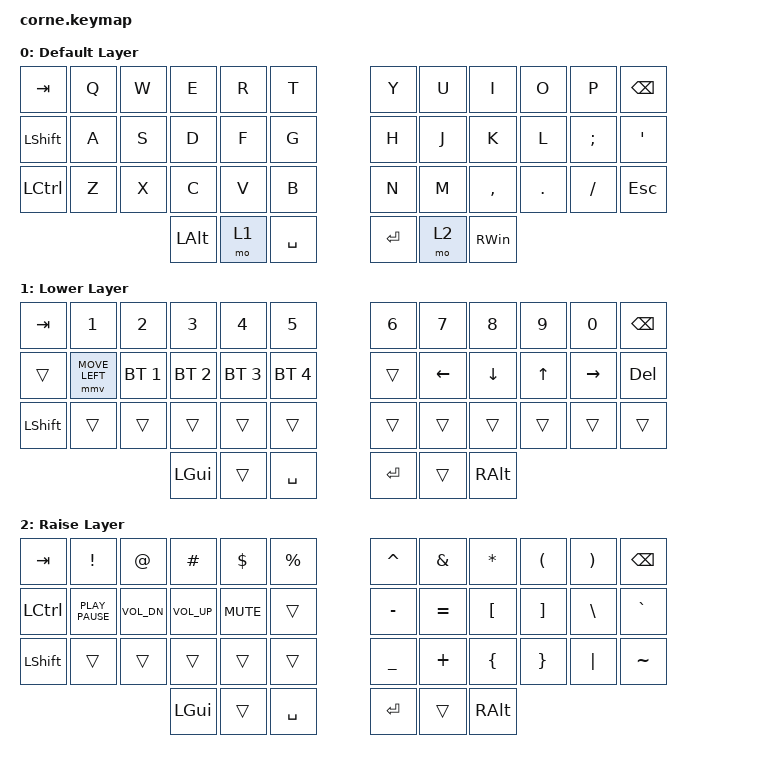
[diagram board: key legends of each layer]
/*
 * Copyright (c) 2020 The ZMK Contributors
 *
 * SPDX-License-Identifier: MIT
 */

#include <behaviors.dtsi>
#include <dt-bindings/zmk/bt.h>
#include <dt-bindings/zmk/keys.h>
#include <dt-bindings/zmk/pointing.h>

/ {
    keymap {
        compatible = "zmk,keymap";

        default_layer {
            display-name = "Default Layer";

            // -----------------------------------------------------------------------------------------
            // |  TAB |  Q  |  W  |  E  |  R  |  T  |   |  Y  |  U   |  I  |  O  |  P  | BSPC |
            // | CTRL |  A  |  S  |  D  |  F  |  G  |   |  H  |  J   |  K  |  L  |  ;  |  '   |
            // | SHFT |  Z  |  X  |  C  |  V  |  B  |   |  N  |  M   |  ,  |  .  |  /  | ESC  |
            //                    | GUI | LWR | SPC |   | ENT | RSE  | ALT |

            bindings = <
&kp TAB         &kp Q  &kp W  &kp E         &kp R  &kp T        &kp Y    &kp U  &kp I          &kp O    &kp P     &kp BSPC
&kp LEFT_SHIFT  &kp A  &kp S  &kp D         &kp F  &kp G        &kp H    &kp J  &kp K          &kp L    &kp SEMI  &kp SQT
&kp LCTRL       &kp Z  &kp X  &kp C         &kp V  &kp B        &kp N    &kp M  &kp COMMA      &kp DOT  &kp FSLH  &kp ESC
                              &kp LEFT_ALT  &mo 1  &kp SPACE    &kp RET  &mo 2  &kp RIGHT_WIN
            >;
        };

        lower_layer {
            display-name = "Lower Layer";

            // -----------------------------------------------------------------------------------------
            // |  TAB |  1  |  2  |  3  |  4  |  5  |   |  6  |  7  |  8  |  9  |  0  | BSPC |
            // | BTCLR| BT1 | BT2 | BT3 | BT4 | BT5 |   | LFT | DWN |  UP | RGT |     |      |
            // | SHFT |     |     |     |     |     |   |     |     |     |     |     |      |
            //                    | GUI |     | SPC |   | ENT |     | ALT |

            bindings = <
&kp TAB    &kp N1          &kp N2        &kp N3        &kp N4        &kp N5          &kp N6   &kp N7    &kp N8    &kp N9        &kp N0           &kp BSPC
&trans     &mmv MOVE_LEFT  &bt BT_SEL 1  &bt BT_SEL 2  &bt BT_SEL 3  &bt BT_SEL 4    &trans   &kp LEFT  &kp DOWN  &kp UP_ARROW  &kp RIGHT_ARROW  &kp DEL
&kp LSHFT  &trans          &trans        &trans        &trans        &trans          &trans   &trans    &trans    &trans        &trans           &trans
                                         &kp LGUI      &trans        &kp SPACE       &kp RET  &trans    &kp RALT
            >;
        };

        raise_layer {
            display-name = "Raise Layer";

            // -----------------------------------------------------------------------------------------
            // |  TAB |  !  |  @  |  #  |  $  |  %  |   |  ^  |  &  |  *  |  (  |  )  | BSPC |
            // | CTRL |     |     |     |     |     |   |  -  |  =  |  [  |  ]  |  \  |  `   |
            // | SHFT |     |     |     |     |     |   |  _  |  +  |  {  |  }  | "|" |  ~   |
            //                    | GUI |     | SPC |   | ENT |     | ALT |

            bindings = <
&kp TAB    &kp EXCL          &kp AT        &kp HASH      &kp DLLR    &kp PRCNT    &kp CARET  &kp AMPS   &kp ASTRK  &kp LPAR  &kp RPAR  &kp BSPC
&kp LCTRL  &kp K_PLAY_PAUSE  &kp C_VOL_DN  &kp C_VOL_UP  &kp K_MUTE  &trans       &kp MINUS  &kp EQUAL  &kp LBKT   &kp RBKT  &kp BSLH  &kp GRAVE
&kp LSHFT  &trans            &trans        &trans        &trans      &trans       &kp UNDER  &kp PLUS   &kp LBRC   &kp RBRC  &kp PIPE  &kp TILDE
                                           &kp LGUI      &trans      &kp SPACE    &kp RET    &trans     &kp RALT
            >;
        };
    };
};
